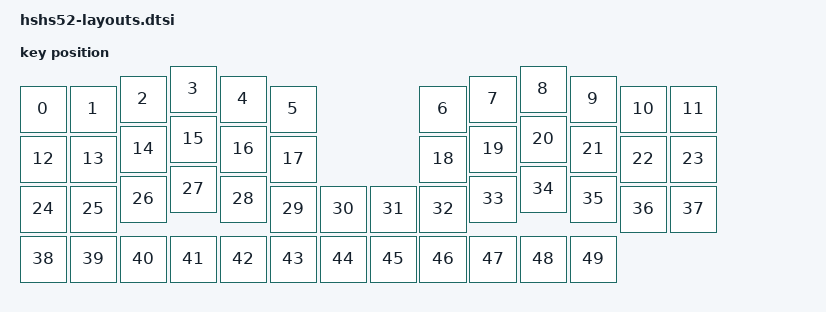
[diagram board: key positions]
#include <physical_layouts.dtsi>

/ {
    hshs52_layout: hshs52_layout {
        compatible = "zmk,physical-layout";
        display-name = "HSHS52 Layout";
        transform = <&default_transform>;
        keys  //                     w   h    x    y     rot    rx    ry
            = <&key_physical_attrs 100 100    0    0       0     0     0>   // ` key
            , <&key_physical_attrs 100 100  100    0       0     0     0>   // Q
            , <&key_physical_attrs 100 100  200   (-20)    0     0     0>   // W
            , <&key_physical_attrs 100 100  300   (-40)    0     0     0>   // E
            , <&key_physical_attrs 100 100  400   (-20)    0     0     0>   // R
            , <&key_physical_attrs 100 100  500    0       0     0     0>   // T
            , <&key_physical_attrs 100 100  800    0       0     0     0>   // Y
            , <&key_physical_attrs 100 100  900   (-20)    0     0     0>   // U
            , <&key_physical_attrs 100 100 1000   (-40)    0     0     0>   // I
            , <&key_physical_attrs 100 100 1100   (-20)    0     0     0>   // O
            , <&key_physical_attrs 100 100 1200    0       0     0     0>   // P
            , <&key_physical_attrs 100 100 1300    0       0     0     0>   // DEL

            , <&key_physical_attrs 100 100    0  100       0     0     0>   // TAB
            , <&key_physical_attrs 100 100  100  100       0     0     0>   // A
            , <&key_physical_attrs 100 100  200   80       0     0     0>   // S
            , <&key_physical_attrs 100 100  300   60       0     0     0>   // D
            , <&key_physical_attrs 100 100  400   80       0     0     0>   // F
            , <&key_physical_attrs 100 100  500  100       0     0     0>   // G
            , <&key_physical_attrs 100 100  800  100       0     0     0>   // H
            , <&key_physical_attrs 100 100  900   80       0     0     0>   // J
            , <&key_physical_attrs 100 100 1000   60       0     0     0>   // K
            , <&key_physical_attrs 100 100 1100   80       0     0     0>   // L
            , <&key_physical_attrs 100 100 1200  100       0     0     0>   // ;
            , <&key_physical_attrs 100 100 1300  100       0     0     0>   // '

            , <&key_physical_attrs 100 100    0  200       0     0     0>   // SHIFT/(
            , <&key_physical_attrs 100 100  100  200       0     0     0>   // Z
            , <&key_physical_attrs 100 100  200  180       0     0     0>   // X
            , <&key_physical_attrs 100 100  300  160       0     0     0>   // C
            , <&key_physical_attrs 100 100  400  180       0     0     0>   // V
            , <&key_physical_attrs 100 100  500  200       0     0     0>   // B
            , <&key_physical_attrs 100 100  600  200       0     0     0>   // RET
            // right half
            , <&key_physical_attrs 100 100  700  200       0     0     0>   // RET
            , <&key_physical_attrs 100 100  800  200       0     0     0>   // N
            , <&key_physical_attrs 100 100  900  180       0     0     0>   // M
            , <&key_physical_attrs 100 100 1000  160       0     0     0>   // ,
            , <&key_physical_attrs 100 100 1100  180       0     0     0>   // .
            , <&key_physical_attrs 100 100 1200  200       0     0     0>   // /
            , <&key_physical_attrs 100 100 1300  200       0     0     0>   // RSHIFT
            //
            // , <&key_physical_attrs 100 100  800  200       0     0     0>   // N
            // , <&key_physical_attrs 100 100  900  180       0     0     0>   // M
            // , <&key_physical_attrs 100 100 1000  160       0     0     0>   // ,
            // , <&key_physical_attrs 100 100 1100  180       0     0     0>   // .
            // , <&key_physical_attrs 100 100 1200  200       0     0     0>   // /
            // , <&key_physical_attrs 100 100 1300  200       0     0     0>   // SHFT/RET
            //

            // , <&key_physical_attrs 100 100    0  300       0     0     0>   // SHIFT/(
            // , <&key_physical_attrs 100 100  100  300       0     0     0>   // ESC
            , <&key_physical_attrs 100 100    0  300       0     0     0>   // CTRL
            , <&key_physical_attrs 100 100  100  300       0     0     0>   // SYM
            , <&key_physical_attrs 100 100  200  300       0     0     0>   // GUI
            , <&key_physical_attrs 100 100  300  300       0     0     0>   // Ctl/ESC
            , <&key_physical_attrs 100 100  400  300       0     0     0>   // Nav/SPC
            , <&key_physical_attrs 100 100  500  300       0     0     0>   // Nav/SPC
            , <&key_physical_attrs 100 100  600  300       0     0     0>   // Ctl/ESC
            , <&key_physical_attrs 100 100  700  300       0     0     0>   // Sym/SPC
            , <&key_physical_attrs 100 100  800  300       0     0     0>   // SYM
            , <&key_physical_attrs 100 100  900  300       0     0     0>   // backslash
            , <&key_physical_attrs 100 100 1000  300       0     0     0>   // [
            , <&key_physical_attrs 100 100 1100  300       0     0     0>   // ]
            ;
    };
};
